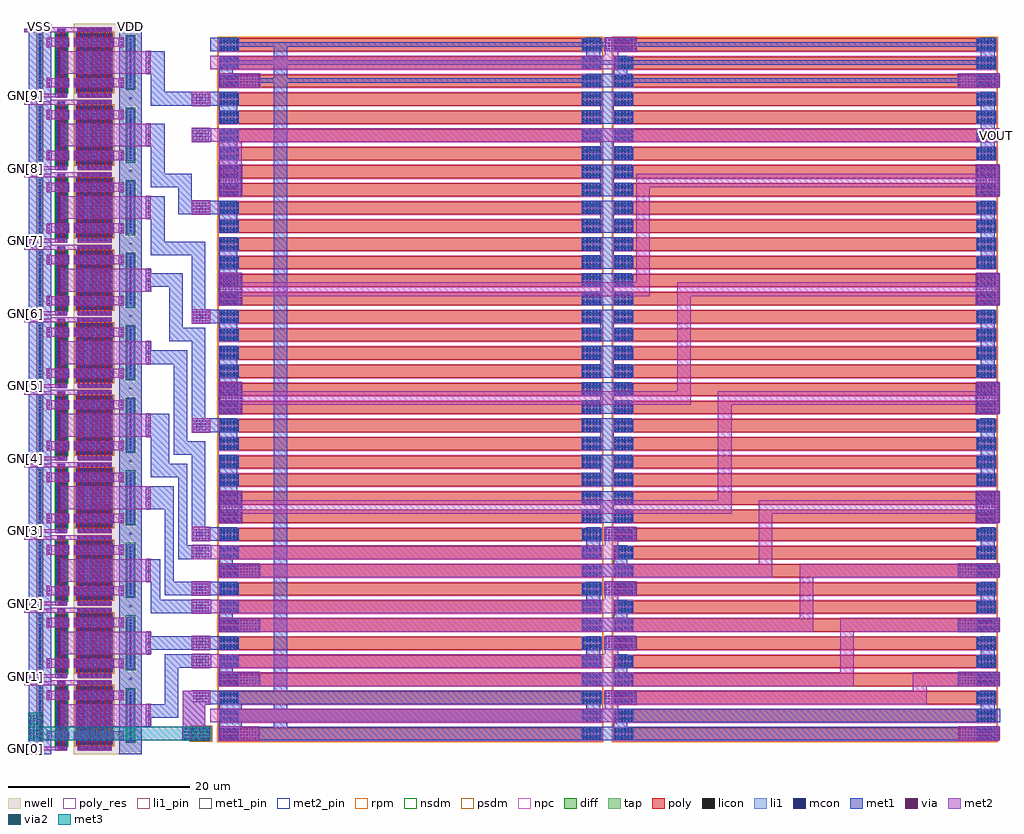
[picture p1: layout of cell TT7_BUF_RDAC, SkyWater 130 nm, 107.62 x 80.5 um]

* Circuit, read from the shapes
.subckt TT7_BUF_RDAC GN[0] GN[1] GN[2] GN[3] GN[4] GN[5] GN[6] GN[7] GN[8] GN[9] GP[0] GP[1] GP[2] GP[3] GP[4] GP[5] GP[6] GP[7] GP[8] GP[9] VDD VOUT VSS
XM1 TT7_RDAC_R2R_0/D0 GN[0] VSS VSS sky130_fd_pr__nfet_01v8 w=6.5 l=0.15 m=2
XM2 TT7_RDAC_R2R_0/D1 GN[1] VSS VSS sky130_fd_pr__nfet_01v8 w=6.5 l=0.15 m=2
XM3 TT7_RDAC_R2R_0/D2 GN[2] VSS VSS sky130_fd_pr__nfet_01v8 w=6.5 l=0.15 m=2
XM4 TT7_RDAC_R2R_0/D3 GN[3] VSS VSS sky130_fd_pr__nfet_01v8 w=6.5 l=0.15 m=2
XM5 TT7_RDAC_R2R_0/D4 GN[4] VSS VSS sky130_fd_pr__nfet_01v8 w=6.5 l=0.15 m=2
XM6 TT7_RDAC_R2R_0/D5 GN[5] VSS VSS sky130_fd_pr__nfet_01v8 w=6.5 l=0.15 m=2
XM7 TT7_RDAC_R2R_0/D6 GN[6] VSS VSS sky130_fd_pr__nfet_01v8 w=6.5 l=0.15 m=2
XM8 TT7_RDAC_R2R_0/D7 GN[7] VSS VSS sky130_fd_pr__nfet_01v8 w=6.5 l=0.15 m=2
XM9 TT7_RDAC_R2R_0/D8 GN[8] VSS VSS sky130_fd_pr__nfet_01v8 w=6.5 l=0.15 m=2
XM10 TT7_RDAC_R2R_0/D9 GN[9] VSS VSS sky130_fd_pr__nfet_01v8 w=6.5 l=0.15 m=2
XM11 TT7_RDAC_R2R_0/D0 GP[0] VDD VDD sky130_fd_pr__pfet_01v8 w=6.5 l=0.15 m=8
XM12 TT7_RDAC_R2R_0/D1 GP[1] VDD VDD sky130_fd_pr__pfet_01v8 w=6.5 l=0.15 m=8
XM13 TT7_RDAC_R2R_0/D2 GP[2] VDD VDD sky130_fd_pr__pfet_01v8 w=6.5 l=0.15 m=8
XM14 TT7_RDAC_R2R_0/D3 GP[3] VDD VDD sky130_fd_pr__pfet_01v8 w=6.5 l=0.15 m=8
XM15 TT7_RDAC_R2R_0/D4 GP[4] VDD VDD sky130_fd_pr__pfet_01v8 w=6.5 l=0.15 m=8
XM16 TT7_RDAC_R2R_0/D5 GP[5] VDD VDD sky130_fd_pr__pfet_01v8 w=6.5 l=0.15 m=8
XM17 TT7_RDAC_R2R_0/D6 GP[6] VDD VDD sky130_fd_pr__pfet_01v8 w=6.5 l=0.15 m=8
XM18 TT7_RDAC_R2R_0/D7 GP[7] VDD VDD sky130_fd_pr__pfet_01v8 w=6.5 l=0.15 m=8
XM19 TT7_RDAC_R2R_0/D8 GP[8] VDD VDD sky130_fd_pr__pfet_01v8 w=6.5 l=0.15 m=8
XM20 TT7_RDAC_R2R_0/D9 GP[9] VDD VDD sky130_fd_pr__pfet_01v8 w=6.5 l=0.15 m=8
XR21 VSS VSS VSS sky130_fd_pr__res_high_po w=1.41 l=37.88 m=11
XR22 n1 n2 VSS sky130_fd_pr__res_high_po w=1.41 l=37.88
XR23 n3 n2 VSS sky130_fd_pr__res_high_po w=1.41 l=37.88
XR24 n3 TT7_RDAC_R2R_0/D1 VSS sky130_fd_pr__res_high_po w=1.41 l=37.88
XR25 n4 n5 VSS sky130_fd_pr__res_high_po w=1.41 l=37.88
XR26 n6 n5 VSS sky130_fd_pr__res_high_po w=1.41 l=37.88
XR27 n6 TT7_RDAC_R2R_0/D3 VSS sky130_fd_pr__res_high_po w=1.41 l=37.88
XR28 n7 n8 VSS sky130_fd_pr__res_high_po w=1.41 l=37.88
XR29 n9 n8 VSS sky130_fd_pr__res_high_po w=1.41 l=37.88
XR30 n9 TT7_RDAC_R2R_0/D5 VSS sky130_fd_pr__res_high_po w=1.41 l=37.88
XR31 n10 n11 VSS sky130_fd_pr__res_high_po w=1.41 l=37.88 m=2
XR32 n12 n11 VSS sky130_fd_pr__res_high_po w=1.41 l=37.88 m=2
XR33 n13 TT7_RDAC_R2R_0/D6 VSS sky130_fd_pr__res_high_po w=1.41 l=37.88 m=2
XR34 n14 n15 VSS sky130_fd_pr__res_high_po w=1.41 l=37.88 m=2
XR35 n16 n15 VSS sky130_fd_pr__res_high_po w=1.41 l=37.88 m=2
XR36 n17 TT7_RDAC_R2R_0/D7 VSS sky130_fd_pr__res_high_po w=1.41 l=37.88 m=2
XR37 n18 n19 VSS sky130_fd_pr__res_high_po w=1.41 l=37.88 m=2
XR38 n20 n19 VSS sky130_fd_pr__res_high_po w=1.41 l=37.88 m=2
XR39 n21 TT7_RDAC_R2R_0/D8 VSS sky130_fd_pr__res_high_po w=1.41 l=37.88 m=2
XR40 n22 VOUT VSS sky130_fd_pr__res_high_po w=1.41 l=37.88 m=2
XR41 n23 VOUT VSS sky130_fd_pr__res_high_po w=1.41 l=37.88 m=2
XR42 n24 TT7_RDAC_R2R_0/D9 VSS sky130_fd_pr__res_high_po w=1.41 l=37.88 m=2
XR43 VSS n25 VSS sky130_fd_pr__res_high_po w=1.41 l=37.88
XR44 n25 n1 VSS sky130_fd_pr__res_high_po w=1.41 l=37.88
XR45 n26 n1 VSS sky130_fd_pr__res_high_po w=1.41 l=37.88
XR46 n26 TT7_RDAC_R2R_0/D0 VSS sky130_fd_pr__res_high_po w=1.41 l=37.88
XR47 n2 n4 VSS sky130_fd_pr__res_high_po w=1.41 l=37.88
XR48 n27 n4 VSS sky130_fd_pr__res_high_po w=1.41 l=37.88
XR49 n27 TT7_RDAC_R2R_0/D2 VSS sky130_fd_pr__res_high_po w=1.41 l=37.88
XR50 n5 n7 VSS sky130_fd_pr__res_high_po w=1.41 l=37.88
XR51 n28 n7 VSS sky130_fd_pr__res_high_po w=1.41 l=37.88
XR52 n28 TT7_RDAC_R2R_0/D4 VSS sky130_fd_pr__res_high_po w=1.41 l=37.88
XR53 n8 n10 VSS sky130_fd_pr__res_high_po w=1.41 l=37.88 m=2
XR54 n29 n12 VSS sky130_fd_pr__res_high_po w=1.41 l=37.88 m=2
XR55 n29 n13 VSS sky130_fd_pr__res_high_po w=1.41 l=37.88 m=2
XR56 n11 n14 VSS sky130_fd_pr__res_high_po w=1.41 l=37.88 m=2
XR57 n30 n16 VSS sky130_fd_pr__res_high_po w=1.41 l=37.88 m=2
XR58 n30 n17 VSS sky130_fd_pr__res_high_po w=1.41 l=37.88 m=2
XR59 n15 n18 VSS sky130_fd_pr__res_high_po w=1.41 l=37.88 m=2
XR60 n31 n20 VSS sky130_fd_pr__res_high_po w=1.41 l=37.88 m=2
XR61 n31 n21 VSS sky130_fd_pr__res_high_po w=1.41 l=37.88 m=2
XR62 n19 n22 VSS sky130_fd_pr__res_high_po w=1.41 l=37.88 m=2
XR63 n32 n23 VSS sky130_fd_pr__res_high_po w=1.41 l=37.88 m=2
XR64 n32 n24 VSS sky130_fd_pr__res_high_po w=1.41 l=37.88 m=2
.ends

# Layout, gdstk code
from math import pi, radians
import gdstk
lib = gdstk.Library(unit=1e-6, precision=1e-09)
def R(c, l, rs):  # rectangles x0, y0, x1, y1
    for r in rs: c.add(gdstk.rectangle(r[:2], r[2:], *l))
def A(c, l, x, y, w, h, nx, ny, dx, dy):  # array of equal rectangles
    R(c, l, [(x+i*dx, y+j*dy, x+i*dx+w, y+j*dy+h) for i in range(nx) for j in range(ny)])
nwell = (64, 20)
diff = (65, 20)
tap = (65, 44)
poly_res = (66, 13)
poly = (66, 20)
licon = (66, 44)
li1_pin = (67, 16)
li1 = (67, 20)
mcon = (67, 44)
met1_pin = (68, 16)
met1 = (68, 20)
via = (68, 44)
met2_pin = (69, 16)
met2 = (69, 20)
via2 = (69, 44)
met3 = (70, 20)
rpm = (86, 20)
nsdm = (93, 44)
psdm = (94, 20)
npc = (95, 20)

sky130_fd_pr__res_high_p = lib.new_cell('sky130_fd_pr__res_high_po_1p41_GFLK2N')
R(sky130_fd_pr__res_high_p, poly_res, [(-0.705,-19,0.705,19)])
R(sky130_fd_pr__res_high_p, poly, [(-0.705,-21.08,0.705,21.08)])
R(sky130_fd_pr__res_high_p, licon, [(-0.45,-21,-0.26,-19), (0.26,-21,0.45,-19), (-0.45,19,-0.26,21), (0.26,19,0.45,21)])
R(sky130_fd_pr__res_high_p, li1, [(-0.705,-21.08,0.705,-18.92), (-0.705,18.92,0.705,21.08)])
A(sky130_fd_pr__res_high_p, mcon, -0.625, -20.985, 0.17, 0.17, 4, 6, 0.36, 0.36)
A(sky130_fd_pr__res_high_p, mcon, -0.625, 19.01, 0.17, 0.17, 4, 6, 0.36, 0.36)
R(sky130_fd_pr__res_high_p, met1, [(-0.655,-21.05,0.655,-18.945), (-0.655,18.945,0.655,21.05)])
R(sky130_fd_pr__res_high_p, rpm, [(-0.905,-21.28,0.905,21.28)])
R(sky130_fd_pr__res_high_p, psdm, [(-0.815,-21.19,0.815,21.19)])
R(sky130_fd_pr__res_high_p, npc, [(-0.8,-21.175,0.8,21.175)])

tt7_rdac_double_bit = lib.new_cell('TT7_RDAC_double_bit')
R(tt7_rdac_double_bit, met1, [(-0.05,0,4.55,1.5), (40.5,0,45.5,1.5), (81.45,0,86.05,1.5), (0,1.5,1.5,3.5), (43.5,1.5,45,3.5), (40.5,2,42,5.5), (84,2,85.5,5.5), (-1,4,2,5.5), (42.45,4,46.05,5.5)])
A(tt7_rdac_double_bit, via, 0.095, 0.195, 0.15, 0.15, 14, 4, 0.32, 0.32)
A(tt7_rdac_double_bit, via, 81.595, 0.195, 0.15, 0.15, 14, 4, 0.32, 0.32)
A(tt7_rdac_double_bit, via, 42.575, 4.195, 0.15, 0.15, 11, 4, 0.32, 0.32)
R(tt7_rdac_double_bit, met2, [(0,-0.05,4.5,1.55), (81.5,-0.05,86,1.55), (-1,2,44,3.5), (42.5,3.5,44,3.95), (42.5,3.95,46,5.55)])
R(tt7_rdac_double_bit, rpm, [(-0.2,1.61,42.36,1.8), (43.3,1.61,85.86,1.8), (-0.2,3.61,42.36,3.8), (43.3,3.61,85.86,3.8)])
R(tt7_rdac_double_bit, psdm, [(-0.11,1.52,42.27,1.89), (43.39,1.52,85.77,1.89), (-0.11,3.52,42.27,3.89), (43.39,3.52,85.77,3.89)])
r = gdstk.Reference(sky130_fd_pr__res_high_p, (21.08,4.705), rotation=3*pi/2); r.repetition = gdstk.Repetition(3, 2, v1=(0,-2), v2=(43.5,0)); tt7_rdac_double_bit.add(r)

tt7_rdac_2x2_bit = lib.new_cell('TT7_RDAC_2x2_bit')
A(tt7_rdac_2x2_bit, met1, 40, 0, 5.5, 1.5, 1, 6, 0, 2)
A(tt7_rdac_2x2_bit, met1, 42, 1.5, 1.5, 0.5, 1, 3, 0, 4)
R(tt7_rdac_2x2_bit, met1, [(-0.05,0,2.55,3.5), (83.45,0,86.05,3.5), (0,3.5,2,7.5), (84,4,85.5,11.5), (0,8,2,10), (-1,10,2,11.5)])
A(tt7_rdac_2x2_bit, via, 0.055, 0.075, 0.15, 0.15, 8, 11, 0.32, 0.32)
A(tt7_rdac_2x2_bit, via, 83.555, 0.075, 0.15, 0.15, 8, 11, 0.32, 0.32)
R(tt7_rdac_2x2_bit, met2, [(0,-0.05,2.5,3.55), (83.5,-0.05,86,3.55)])
A(tt7_rdac_2x2_bit, rpm, -0.2, 1.61, 42.56, 0.19, 1, 5, 0, 2)
A(tt7_rdac_2x2_bit, rpm, 43.3, 1.61, 42.56, 0.19, 1, 5, 0, 2)
A(tt7_rdac_2x2_bit, psdm, -0.11, 1.52, 42.38, 0.37, 1, 5, 0, 2)
A(tt7_rdac_2x2_bit, psdm, 43.39, 1.52, 42.38, 0.37, 1, 5, 0, 2)
r = gdstk.Reference(sky130_fd_pr__res_high_p, (21.08,10.705), rotation=3*pi/2); r.repetition = gdstk.Repetition(6, 2, v1=(0,-2), v2=(43.5,0)); tt7_rdac_2x2_bit.add(r)

tt7_rdac_r2r = lib.new_cell('TT7_RDAC_R2R')
R(tt7_rdac_r2r, tap, [(-12.62,22.5,-10.38,24)])
A(tt7_rdac_r2r, licon, -12.435, 22.655, 0.17, 0.17, 6, 4, 0.34, 0.34)
R(tt7_rdac_r2r, li1_pin, [(-12,23,-11.5,23.5)])
R(tt7_rdac_r2r, li1, [(-12.58,22.5,-10.42,24)])
R(tt7_rdac_r2r, met1, [(-9.5,22.5,76.5,24), (-9.5,24,-7,24.5), (-3.5,24,-2,24.5), (-9.5,24.5,76.6,26), (-9.5,26,-7,26.5), (-3.5,26,-2,26.5), (-12.55,26.5,-10,28), (-9.5,26.5,32.5,28), (-3.5,28,-2,95), (-12.55,30.5,-10.4,32), (-12.55,32.5,-10.4,34), (-12.55,36.5,-10.4,38), (-12.55,38.5,-10.5,40), (-12.55,42.5,-10.4,44), (-12.55,44.5,-10.5,46), (-12.55,56.5,-10,58), (-12.55,68.5,-10,70), (-12.55,80.5,-10.45,82), (-12.55,88.5,-10.4,90), (-12.55,92.5,-10.5,93), (-12.55,93,-10.45,94), (-8.5,95,76.55,95.5), (-3.5,95.5,-2,97), (-8.5,97,76.15,97.5), (-3.5,97.5,-2,99), (-9,99,75.5,99.5)])
A(tt7_rdac_r2r, via, -12.375, 26.695, 0.15, 0.15, 6, 4, 0.32, 0.32)
A(tt7_rdac_r2r, via, -12.375, 30.695, 0.15, 0.15, 6, 4, 0.32, 0.32)
A(tt7_rdac_r2r, via, -12.375, 32.695, 0.15, 0.15, 6, 4, 0.32, 0.32)
A(tt7_rdac_r2r, via, -12.375, 36.695, 0.15, 0.15, 6, 4, 0.32, 0.32)
A(tt7_rdac_r2r, via, -12.375, 38.695, 0.15, 0.15, 6, 4, 0.32, 0.32)
A(tt7_rdac_r2r, via, -12.375, 42.695, 0.15, 0.15, 6, 4, 0.32, 0.32)
A(tt7_rdac_r2r, via, -12.375, 44.695, 0.15, 0.15, 6, 4, 0.32, 0.32)
A(tt7_rdac_r2r, via, -12.375, 56.695, 0.15, 0.15, 6, 4, 0.32, 0.32)
A(tt7_rdac_r2r, via, -12.375, 68.695, 0.15, 0.15, 6, 4, 0.32, 0.32)
A(tt7_rdac_r2r, via, -12.375, 80.695, 0.15, 0.15, 6, 4, 0.32, 0.32)
A(tt7_rdac_r2r, via, -12.375, 88.695, 0.15, 0.15, 6, 4, 0.32, 0.32)
A(tt7_rdac_r2r, via, -12.375, 92.695, 0.15, 0.15, 6, 4, 0.32, 0.32)
A(tt7_rdac_r2r, met2_pin, -12, 45, 0.5, 0.5, 1, 4, 0, 12)
R(tt7_rdac_r2r, met2_pin, [(-12,27,-11.5,27.5), (-12,31,-11.5,31.5), (-12,33,-11.5,33.5), (-12,37,-11.5,37.5), (-12,39,-11.5,39.5), (-12,43,-11.5,43.5), (-12,89,-11.5,89.5), (-12,93,-11.5,93.5)])
A(tt7_rdac_r2r, met2, -12.5, 44.45, 2, 1.6, 1, 5, 0, 12)
R(tt7_rdac_r2r, met2, [(-12.5,26.45,-10.5,28.05), (36.5,26.5,68.5,28), (67,28,68.5,28.5), (-9.5,28.5,60.5,30), (67,28.5,76.5,30), (59,30,60.5,34.5), (-12.5,30.45,-10.5,32.05), (-12.5,32.45,-10.5,34.05), (-9.5,34.5,56,36), (59,34.5,76.5,36), (54.5,36,56,40.5), (-12.5,36.45,-10.5,38.05), (-12.5,38.45,-10.5,40.05), (-9.5,40.5,51.5,42), (54.5,40.5,76.5,42), (50,42,51.5,47.5), (-12.5,42.45,-10.5,44.05), (-9,47.5,47,49), (50,47.5,76.5,49), (45.5,49,47,59.5), (-9,59.5,42.5,61), (45.5,59.5,76.5,61), (41,61,42.5,71.5), (-9,71.5,38,73), (41,71.5,76.5,73), (36.5,73,38,83.5), (36.5,83.5,76.5,85), (-9.5,86,-7,88.5), (-12.5,88.45,-10.5,88.5), (-12.5,88.5,76.5,90), (-12.5,90,-10.5,90.05)])
A(tt7_rdac_r2r, rpm, -9.7, 28.11, 42.56, 0.19, 1, 4, 0, 6)
A(tt7_rdac_r2r, rpm, 33.8, 28.11, 42.56, 0.19, 1, 4, 0, 6)
A(tt7_rdac_r2r, rpm, -9.7, 58.11, 42.56, 0.19, 1, 4, 0, 12)
A(tt7_rdac_r2r, rpm, 33.8, 58.11, 42.56, 0.19, 1, 4, 0, 12)
A(tt7_rdac_r2r, psdm, -9.61, 28.02, 42.38, 0.37, 1, 4, 0, 6)
A(tt7_rdac_r2r, psdm, 33.89, 28.02, 42.38, 0.37, 1, 4, 0, 6)
A(tt7_rdac_r2r, psdm, -9.61, 58.02, 42.38, 0.37, 1, 4, 0, 12)
A(tt7_rdac_r2r, psdm, 33.89, 58.02, 42.38, 0.37, 1, 4, 0, 12)
R(tt7_rdac_r2r, psdm, [(-12.745,22.375,-10.255,24.125)])
tt7_rdac_r2r.add(gdstk.Reference(tt7_rdac_double_bit, (-9.5,94.5)))
r = gdstk.Reference(tt7_rdac_double_bit, (-9.5,22.5)); r.repetition = gdstk.Repetition(1, 4, v1=(0,0), v2=(0,6)); tt7_rdac_r2r.add(r)
r = gdstk.Reference(tt7_rdac_2x2_bit, (-9.5,46.5)); r.repetition = gdstk.Repetition(1, 4, v1=(0,0), v2=(0,12)); tt7_rdac_r2r.add(r)
tt7_rdac_r2r.add(gdstk.Label('D9', (-11.75,93.25), layer=69, texttype=5))
tt7_rdac_r2r.add(gdstk.Label('D8', (-11.75,81.25), layer=69, texttype=5))
tt7_rdac_r2r.add(gdstk.Label('D7', (-11.75,69.25), layer=69, texttype=5))
tt7_rdac_r2r.add(gdstk.Label('D6', (-11.75,57.25), layer=69, texttype=5))
tt7_rdac_r2r.add(gdstk.Label('D5', (-11.75,45.25), layer=69, texttype=5))
tt7_rdac_r2r.add(gdstk.Label('D4', (-11.75,43.25), layer=69, texttype=5))
tt7_rdac_r2r.add(gdstk.Label('D3', (-11.75,39.25), layer=69, texttype=5))
tt7_rdac_r2r.add(gdstk.Label('D2', (-11.75,37.25), layer=69, texttype=5))
tt7_rdac_r2r.add(gdstk.Label('D1', (-11.75,33.25), layer=69, texttype=5))
tt7_rdac_r2r.add(gdstk.Label('D0', (-11.75,31.25), layer=69, texttype=5))
tt7_rdac_r2r.add(gdstk.Label('VSS', (-11.75,27.25), layer=69, texttype=5))
tt7_rdac_r2r.add(gdstk.Label('vout', (-11.75,89.25), layer=69, texttype=5))
tt7_rdac_r2r.add(gdstk.Label('RGND', (-11.75,23.25), layer=67, texttype=5))

sky130_fd_pr__pfet_01v8_ = lib.new_cell('sky130_fd_pr__pfet_01v8_VHHV29')
R(sky130_fd_pr__pfet_01v8_, nwell, [(-2.245,-3.75,1.765,-3.56), (-2.245,-3.56,2.245,3.56), (-1.765,3.56,2.245,3.75)])
R(sky130_fd_pr__pfet_01v8_, diff, [(-2.065,-3.25,2.065,3.25)])
A(sky130_fd_pr__pfet_01v8_, poly, -1.845, -3.735, 0.33, 0.33, 4, 1, 0.96, 0)
A(sky130_fd_pr__pfet_01v8_, poly, -1.755, -3.405, 0.15, 6.785, 4, 1, 0.96, 0)
A(sky130_fd_pr__pfet_01v8_, poly, -1.275, -3.38, 0.15, 6.785, 4, 1, 0.96, 0)
A(sky130_fd_pr__pfet_01v8_, poly, -1.365, 3.405, 0.33, 0.33, 4, 1, 0.96, 0)
A(sky130_fd_pr__pfet_01v8_, licon, -1.765, -3.655, 0.17, 0.17, 4, 1, 0.96, 0)
A(sky130_fd_pr__pfet_01v8_, licon, -2.005, -3.145, 0.17, 0.17, 9, 19, 0.48, 0.34)
A(sky130_fd_pr__pfet_01v8_, licon, -1.285, 3.485, 0.17, 0.17, 4, 1, 0.96, 0)
A(sky130_fd_pr__pfet_01v8_, li1, -1.845, -3.655, 0.33, 0.17, 4, 1, 0.96, 0)
A(sky130_fd_pr__pfet_01v8_, li1, -2.005, -3.27, 0.17, 6.54, 9, 1, 0.48, 0)
A(sky130_fd_pr__pfet_01v8_, li1, -1.365, 3.485, 0.33, 0.17, 4, 1, 0.96, 0)
A(sky130_fd_pr__pfet_01v8_, mcon, -1.765, -3.655, 0.17, 0.17, 4, 1, 0.96, 0)
A(sky130_fd_pr__pfet_01v8_, mcon, -2.005, -3.145, 0.17, 0.17, 9, 18, 0.48, 0.36)
A(sky130_fd_pr__pfet_01v8_, mcon, -1.285, 3.485, 0.17, 0.17, 4, 1, 0.96, 0)
A(sky130_fd_pr__pfet_01v8_, met1, -1.825, -3.685, 0.29, 0.23, 4, 1, 0.96, 0)
A(sky130_fd_pr__pfet_01v8_, met1, -2.035, -3.25, 0.23, 6.5, 9, 1, 0.48, 0)
A(sky130_fd_pr__pfet_01v8_, met1, -1.345, 3.455, 0.29, 0.23, 4, 1, 0.96, 0)
R(sky130_fd_pr__pfet_01v8_, psdm, [(-2.19,-3.375,2.19,3.375)])
A(sky130_fd_pr__pfet_01v8_, npc, -1.865, -3.755, 0.37, 0.37, 4, 1, 0.96, 0)
A(sky130_fd_pr__pfet_01v8_, npc, -1.385, 3.385, 0.37, 0.37, 4, 1, 0.96, 0)

sky130_fd_pr__nfet_01v8_ = lib.new_cell('sky130_fd_pr__nfet_01v8_84F3PJ')
R(sky130_fd_pr__nfet_01v8_, diff, [(-0.625,-3.25,0.625,3.25)])
R(sky130_fd_pr__nfet_01v8_, poly, [(-0.405,-3.69,-0.075,-3.36), (0.165,-3.38,0.315,3.36), (-0.315,-3.36,-0.165,3.38), (0.075,3.36,0.405,3.69)])
A(sky130_fd_pr__nfet_01v8_, licon, -0.565, -3.145, 0.17, 0.17, 3, 19, 0.48, 0.34)
R(sky130_fd_pr__nfet_01v8_, licon, [(-0.325,-3.61,-0.155,-3.44), (0.155,3.44,0.325,3.61)])
A(sky130_fd_pr__nfet_01v8_, li1, -0.565, -3.27, 0.17, 6.54, 3, 1, 0.48, 0)
R(sky130_fd_pr__nfet_01v8_, li1, [(-0.405,-3.61,-0.075,-3.44), (0.075,3.44,0.405,3.61)])
A(sky130_fd_pr__nfet_01v8_, mcon, -0.565, -3.145, 0.17, 0.17, 3, 18, 0.48, 0.36)
R(sky130_fd_pr__nfet_01v8_, mcon, [(-0.325,-3.61,-0.155,-3.44), (0.155,3.44,0.325,3.61)])
A(sky130_fd_pr__nfet_01v8_, met1, -0.595, -3.25, 0.23, 6.5, 3, 1, 0.48, 0)
R(sky130_fd_pr__nfet_01v8_, met1, [(-0.385,-3.64,-0.095,-3.41), (0.095,3.41,0.385,3.64)])
R(sky130_fd_pr__nfet_01v8_, nsdm, [(-0.75,-3.375,0.75,3.375)])
R(sky130_fd_pr__nfet_01v8_, npc, [(-0.425,-3.71,-0.055,-3.34), (0.055,3.34,0.425,3.71)])

tt7_drv_dac_one = lib.new_cell('TT7_DRV_DAC_one')
A(tt7_drv_dac_one, nwell, 3.1, 7.095, 0.01, 0.05, 8, 1, 0.05, 0)
R(tt7_drv_dac_one, nwell, [(2,-0.5,9.495,0), (2,0,9.5,0.3), (2,0.3,6.125,0.4), (6.15,0.3,9.5,0.4), (2,0.4,9.5,7.095), (2,7.095,3.06,7.145), (3.5,7.095,9.5,7.145), (2,7.145,9.5,7.15), (2,7.15,2.35,7.3), (2.37,7.15,5.77,7.3), (6.1,7.15,9.5,7.3), (2,7.3,9.5,8)])
R(tt7_drv_dac_one, tap, [(-2,0.38,-1.5,7.12), (7.85,0.85,8.65,6.65)])
A(tt7_drv_dac_one, poly, 2.97, 0.345, 0.15, 0.055, 4, 1, 0.96, 0)
A(tt7_drv_dac_one, poly, 3.45, 0.37, 0.15, 0.03, 3, 1, 0.96, 0)
A(tt7_drv_dac_one, poly, 2.49, 7.13, 0.15, 0.02, 4, 1, 0.96, 0)
R(tt7_drv_dac_one, poly, [(0.55,0,1.03,0.33), (2.4,0.015,6.09,0.345), (0.2,7.05,1.05,7.4), (2.4,7.15,6.1,7.5)])
A(tt7_drv_dac_one, licon, 2.96, 0.095, 0.17, 0.17, 4, 1, 0.96, 0)
A(tt7_drv_dac_one, licon, -1.835, 0.605, 0.17, 0.17, 1, 19, 0, 0.34)
A(tt7_drv_dac_one, licon, 8.165, 1.115, 0.17, 0.17, 1, 16, 0, 0.34)
A(tt7_drv_dac_one, licon, 2.48, 7.235, 0.17, 0.17, 4, 1, 0.96, 0)
R(tt7_drv_dac_one, licon, [(0.78,0.08,0.95,0.25), (0.28,7.13,0.45,7.3)])
R(tt7_drv_dac_one, li1, [(0.53,0.08,1.03,0.25), (2.4,0.095,6.09,0.265), (-2,0.42,-1.5,7.08), (7.9,0.9,8.6,6.6), (0.2,7.13,0.53,7.3), (2.4,7.235,6.09,7.405)])
A(tt7_drv_dac_one, mcon, 2.96, 0.095, 0.17, 0.17, 4, 1, 0.96, 0)
A(tt7_drv_dac_one, mcon, -1.835, 0.605, 0.17, 0.17, 1, 18, 0, 0.36)
A(tt7_drv_dac_one, mcon, 8.165, 1.145, 0.17, 0.17, 1, 15, 0, 0.36)
A(tt7_drv_dac_one, mcon, 2.48, 7.235, 0.17, 0.17, 4, 1, 0.96, 0)
R(tt7_drv_dac_one, mcon, [(0.78,0.08,0.95,0.25), (0.28,7.13,0.45,7.3)])
R(tt7_drv_dac_one, met1_pin, [(-1.9,7.7,-1.6,7.9), (8.1,7.7,8.4,7.9)])
A(tt7_drv_dac_one, met1, 2.15, 1, 0.4, 1, 4, 2, 0.95, 4.5)
A(tt7_drv_dac_one, met1, 2.6, 2.5, 0.4, 2.5, 3, 1, 0.95, 0)
R(tt7_drv_dac_one, met1, [(-3,-0.5,-0.5,1), (7,-0.5,9.5,1), (-0.05,-0.1,1.25,0.3), (2.45,-0.1,6.15,0.015), (2.4,0.015,6.15,0.3), (2.4,0.3,6.09,0.345), (-3,1,-0.45,2), (-0.05,1,0.35,2), (0.95,1,1.35,2), (6,1,6.4,2), (6.95,1,9.5,2), (-3,2,-0.5,5.5), (7,2,9.5,5.5), (0.45,2.5,0.85,5), (5.5,2.5,5.9,5), (9.95,2.5,10.55,5), (-3,5.5,-0.45,6.5), (-0.05,5.5,0.35,6.5), (0.95,5.5,1.35,6.5), (6,5.5,6.4,6.5), (6.95,5.5,9.5,6.5), (-3,6.5,-0.5,8), (7,6.5,9.5,8), (0.15,7.1,1.05,7.5), (2.35,7.2,6.15,7.6)])
A(tt7_drv_dac_one, via, 0.205, 0.025, 0.15, 0.15, 3, 1, 0.32, 0)
A(tt7_drv_dac_one, via, 2.625, 0.025, 0.15, 0.15, 11, 1, 0.32, 0)
A(tt7_drv_dac_one, via, -0.825, 1.105, 0.15, 0.15, 1, 3, 0, 0.32)
A(tt7_drv_dac_one, via, 0.075, 1.105, 0.15, 0.15, 1, 3, 0, 0.32)
A(tt7_drv_dac_one, via, 1.075, 1.105, 0.15, 0.15, 1, 3, 0, 0.32)
A(tt7_drv_dac_one, via, 2.275, 1.105, 0.15, 0.15, 4, 3, 0.95, 0.32)
A(tt7_drv_dac_one, via, 6.125, 1.105, 0.15, 0.15, 1, 3, 0, 0.32)
A(tt7_drv_dac_one, via, 7.175, 1.105, 0.15, 0.15, 1, 3, 0, 0.32)
A(tt7_drv_dac_one, via, 0.575, 2.555, 0.15, 0.15, 1, 8, 0, 0.32)
A(tt7_drv_dac_one, via, 2.725, 2.555, 0.15, 0.15, 3, 8, 0.95, 0.32)
A(tt7_drv_dac_one, via, 5.625, 2.555, 0.15, 0.15, 1, 8, 0, 0.32)
A(tt7_drv_dac_one, via, 10.175, 2.555, 0.15, 0.15, 1, 8, 0, 0.32)
A(tt7_drv_dac_one, via, -0.825, 5.605, 0.15, 0.15, 1, 3, 0, 0.32)
A(tt7_drv_dac_one, via, 0.075, 5.605, 0.15, 0.15, 1, 3, 0, 0.32)
A(tt7_drv_dac_one, via, 1.075, 5.605, 0.15, 0.15, 1, 3, 0, 0.32)
A(tt7_drv_dac_one, via, 2.275, 5.605, 0.15, 0.15, 4, 3, 0.95, 0.32)
A(tt7_drv_dac_one, via, 6.125, 5.605, 0.15, 0.15, 1, 3, 0, 0.32)
A(tt7_drv_dac_one, via, 7.175, 5.605, 0.15, 0.15, 1, 3, 0, 0.32)
A(tt7_drv_dac_one, via, 2.575, 7.325, 0.15, 0.15, 11, 1, 0.32, 0)
R(tt7_drv_dac_one, met2_pin, [(-3.4,0,-3.2,0.2), (10.1,3.6,10.4,3.8), (-3.4,7.2,-3.2,7.4)])
A(tt7_drv_dac_one, met2, 2.2, 0.95, 0.3, 0.05, 4, 2, 0.95, 1.05)
A(tt7_drv_dac_one, met2, 2.65, 2.45, 0.3, 0.05, 3, 2, 0.95, 2.55)
A(tt7_drv_dac_one, met2, 2.2, 5.45, 0.3, 0.05, 4, 2, 0.95, 1.05)
R(tt7_drv_dac_one, met2, [(0,-0.15,1.2,-0.1), (2.5,-0.15,6.1,0.35), (-3.5,-0.1,1.2,0.3), (0,0.3,1.2,0.35), (-1,0.95,-0.5,1), (0,0.95,0.3,1), (1,0.95,1.3,1), (6.05,0.95,6.35,1), (7,0.95,7.5,1), (-1,1,1.5,2), (2,1,7.5,2), (-1,2,-0.5,2.05), (0,2,0.3,2.05), (1,2,1.3,2.05), (6.05,2,6.35,2.05), (7,2,7.5,2.05), (0.5,2.45,0.8,2.5), (5.55,2.45,5.85,2.5), (10,2.45,10.5,2.5), (0.5,2.5,10.5,5), (0.5,5,0.8,5.05), (5.55,5,5.85,5.05), (10,5,10.5,5.05), (-1,5.45,-0.5,5.5), (0,5.45,0.3,5.5), (1,5.45,1.3,5.5), (6.05,5.45,6.35,5.5), (7,5.45,7.5,5.5), (-1,5.5,1.5,6.5), (2,5.5,7.5,6.5), (-1,6.5,-0.5,6.55), (0,6.5,0.3,6.55), (1,6.5,1.3,6.55), (6.05,6.5,6.35,6.55), (7,6.5,7.5,6.55), (-3.5,7.1,2.4,7.15), (-3.5,7.15,6.1,7.5), (-0.5,7.5,6.1,7.65)])
R(tt7_drv_dac_one, nsdm, [(7.725,0.725,8.775,6.775)])
R(tt7_drv_dac_one, psdm, [(-2.125,0.255,-1.375,7.245)])
A(tt7_drv_dac_one, npc, 2.75, -0.005, 0.59, 0.37, 3, 1, 0.96, 0)
A(tt7_drv_dac_one, npc, 3.23, 7.135, 0.59, 0.37, 3, 1, 0.96, 0)
R(tt7_drv_dac_one, npc, [(0.57,-0.02,1.05,0.35), (5.63,-0.005,6.11,0.365), (0.18,7.03,0.68,7.4), (2.38,7.135,2.86,7.505)])
tt7_drv_dac_one.add(gdstk.Reference(sky130_fd_pr__pfet_01v8_, (4.245,3.75)))
tt7_drv_dac_one.add(gdstk.Reference(sky130_fd_pr__nfet_01v8_, (0.625,3.69)))
tt7_drv_dac_one.add(gdstk.Label('VSS', (-1.75,7.8), layer=68, texttype=5))
tt7_drv_dac_one.add(gdstk.Label('VDD', (8.25,7.8), layer=68, texttype=5))
tt7_drv_dac_one.add(gdstk.Label('GN', (-3.3,0.1), layer=69, texttype=5))
tt7_drv_dac_one.add(gdstk.Label('GP', (-3.3,7.3), layer=69, texttype=5))
tt7_drv_dac_one.add(gdstk.Label('R', (10.25,3.7), layer=69, texttype=5))

tt7_drv_dac = lib.new_cell('TT7_DRV_DAC')
A(tt7_drv_dac, met1_pin, 13.6, 4.1, 0.3, 0.2, 1, 10, 0, 8)
R(tt7_drv_dac, met1_pin, [(1.6,80.2,1.9,80.4), (11.6,80.2,11.9,80.4)])
A(tt7_drv_dac, met1, 13.6, 4.1, 0.3, 0.2, 1, 10, 0, 8)
R(tt7_drv_dac, met1, [(1.6,80.2,1.9,80.4), (11.6,80.2,11.9,80.4)])
R(tt7_drv_dac, met2_pin, [(0.1,0.5,0.3,0.7), (0.1,7.7,0.3,7.9), (0.1,8.5,0.3,8.7), (0.1,15.7,0.3,15.9), (0.1,16.5,0.3,16.7), (0.1,23.7,0.3,23.9), (0.1,24.5,0.3,24.7), (0.1,31.7,0.3,31.9), (0.1,32.5,0.3,32.7), (0.1,39.7,0.3,39.9), (0.1,40.5,0.3,40.7), (0.1,47.7,0.3,47.9), (0.1,48.5,0.3,48.7), (0.1,55.7,0.3,55.9), (0.1,56.5,0.3,56.7), (0.1,63.7,0.3,63.9), (0.1,64.5,0.3,64.7), (0.1,71.7,0.3,71.9), (0.1,72.5,0.3,72.7), (0.1,79.7,0.3,79.9)])
R(tt7_drv_dac, met2, [(0.1,0.5,0.3,0.7), (0.1,7.7,0.3,7.9), (0.1,8.5,0.3,8.7), (0.1,15.7,0.3,15.9), (0.1,16.5,0.3,16.7), (0.1,23.7,0.3,23.9), (0.1,24.5,0.3,24.7), (0.1,31.7,0.3,31.9), (0.1,32.5,0.3,32.7), (0.1,39.7,0.3,39.9), (0.1,40.5,0.3,40.7), (0.1,47.7,0.3,47.9), (0.1,48.5,0.3,48.7), (0.1,55.7,0.3,55.9), (0.1,56.5,0.3,56.7), (0.1,63.7,0.3,63.9), (0.1,64.5,0.3,64.7), (0.1,71.7,0.3,71.9), (0.1,72.5,0.3,72.7), (0.1,79.7,0.3,79.9)])
r = gdstk.Reference(tt7_drv_dac_one, (3.5,0.5)); r.repetition = gdstk.Repetition(1, 10, v1=(0,0), v2=(0,8)); tt7_drv_dac.add(r)
tt7_drv_dac.add(gdstk.Label('VDD', (11.75,80.3), layer=68, texttype=5))
tt7_drv_dac.add(gdstk.Label('VSS', (1.75,80.3), layer=68, texttype=5))
tt7_drv_dac.add(gdstk.Label('R[0]', (13.75,4.2), layer=68, texttype=5))
tt7_drv_dac.add(gdstk.Label('R[1]', (13.75,12.2), layer=68, texttype=5))
tt7_drv_dac.add(gdstk.Label('R[2]', (13.75,20.2), layer=68, texttype=5))
tt7_drv_dac.add(gdstk.Label('R[3]', (13.75,28.2), layer=68, texttype=5))
tt7_drv_dac.add(gdstk.Label('R[4]', (13.75,36.2), layer=68, texttype=5))
tt7_drv_dac.add(gdstk.Label('R[5]', (13.75,44.2), layer=68, texttype=5))
tt7_drv_dac.add(gdstk.Label('R[6]', (13.75,52.2), layer=68, texttype=5))
tt7_drv_dac.add(gdstk.Label('R[7]', (13.75,60.2), layer=68, texttype=5))
tt7_drv_dac.add(gdstk.Label('R[8]', (13.75,68.2), layer=68, texttype=5))
tt7_drv_dac.add(gdstk.Label('R[9]', (13.75,76.2), layer=68, texttype=5))
tt7_drv_dac.add(gdstk.Label('GP[0]', (0.2,7.8), layer=69, texttype=5))
tt7_drv_dac.add(gdstk.Label('GN[0]', (0.2,0.6), layer=69, texttype=5))
tt7_drv_dac.add(gdstk.Label('GP[1]', (0.2,15.8), layer=69, texttype=5))
tt7_drv_dac.add(gdstk.Label('GN[1]', (0.2,8.6), layer=69, texttype=5))
tt7_drv_dac.add(gdstk.Label('GP[2]', (0.2,23.8), layer=69, texttype=5))
tt7_drv_dac.add(gdstk.Label('GN[2]', (0.2,16.6), layer=69, texttype=5))
tt7_drv_dac.add(gdstk.Label('GP[3]', (0.2,31.8), layer=69, texttype=5))
tt7_drv_dac.add(gdstk.Label('GN[3]', (0.2,24.6), layer=69, texttype=5))
tt7_drv_dac.add(gdstk.Label('GP[4]', (0.2,39.8), layer=69, texttype=5))
tt7_drv_dac.add(gdstk.Label('GN[4]', (0.2,32.6), layer=69, texttype=5))
tt7_drv_dac.add(gdstk.Label('GP[5]', (0.2,47.8), layer=69, texttype=5))
tt7_drv_dac.add(gdstk.Label('GN[5]', (0.2,40.6), layer=69, texttype=5))
tt7_drv_dac.add(gdstk.Label('GP[6]', (0.2,55.8), layer=69, texttype=5))
tt7_drv_dac.add(gdstk.Label('GN[6]', (0.2,48.6), layer=69, texttype=5))
tt7_drv_dac.add(gdstk.Label('GP[7]', (0.2,63.8), layer=69, texttype=5))
tt7_drv_dac.add(gdstk.Label('GN[7]', (0.2,56.6), layer=69, texttype=5))
tt7_drv_dac.add(gdstk.Label('GP[8]', (0.2,71.8), layer=69, texttype=5))
tt7_drv_dac.add(gdstk.Label('GN[8]', (0.2,64.6), layer=69, texttype=5))
tt7_drv_dac.add(gdstk.Label('GP[9]', (0.2,79.8), layer=69, texttype=5))
tt7_drv_dac.add(gdstk.Label('GN[9]', (0.2,72.6), layer=69, texttype=5))

tt7_buf_rdac = lib.new_cell('TT7_BUF_RDAC')
R(tt7_buf_rdac, met1_pin, [(1.5,80,2,80.5), (11.5,80,12,80.5)])
R(tt7_buf_rdac, met1, [(0.45,1.5,2.05,4.5), (17.45,1.5,20.55,3), (17.5,3,20,7), (14,4,17,5.5), (15.5,5.5,17,9.5), (15.5,9.5,18.5,11), (14,11.5,18.5,13), (14,15.5,18.5,17), (14,17,15,21.5), (15.5,17.5,18.5,19), (15.5,19,16.5,27), (17,21.5,18.5,23), (17,23,18,30.5), (18.5,25,20,33), (14,27,16.5,29.5), (14,30.5,18,32), (14,32,16,37.5), (16.5,33,20,34.5), (16.5,34.5,18,43), (18.5,35.5,20,45.5), (14,43,18,44.5), (16,45.5,20,47), (16,47,17.5,51.5), (18.5,49,20,55), (14,51.5,17.5,53), (14,55,20,56.5), (14,56.5,15.5,61.5), (17,59.5,18.5,62.5), (14,62.5,18.5,64), (14,64,15.5,69.5), (14,71.5,18.5,73), (14,73,15.5,77.5), (1.5,80,2,80.5), (11.5,80,12,80.5)])
A(tt7_buf_rdac, via, 0.695, 1.645, 0.15, 0.15, 4, 9, 0.32, 0.32)
A(tt7_buf_rdac, via, 17.645, 1.695, 0.15, 0.15, 9, 4, 0.32, 0.32)
R(tt7_buf_rdac, met2_pin, [(0.1,0.5,0.3,0.7), (0.1,7.7,0.3,7.9), (0.1,8.5,0.3,8.7), (0.1,15.7,0.3,15.9), (0.1,16.5,0.3,16.7), (0.1,23.7,0.3,23.9), (0.1,24.5,0.3,24.7), (0.1,31.7,0.3,31.9), (0.1,32.5,0.3,32.7), (0.1,39.7,0.3,39.9), (0.1,40.5,0.3,40.7), (0.1,47.7,0.3,47.9), (0.1,48.5,0.3,48.7), (0.1,55.7,0.3,55.9), (0.1,56.5,0.3,56.7), (0.1,63.7,0.3,63.9), (0.1,64.5,0.3,64.7), (107,68,107.5,68.5), (0.1,71.7,0.3,71.9), (0.1,72.5,0.3,72.7), (0.1,79.7,0.3,79.9)])
R(tt7_buf_rdac, met2, [(0,0.4,0.4,0.8), (0.5,1.45,2,4.55), (17.5,1.45,20.5,3.05), (17.5,3.05,20,7), (0,7.6,0.4,8), (0,8.4,0.4,8.8), (0,15.6,0.4,16), (0,16.4,0.4,16.8), (0,23.6,0.4,24), (0,24.4,0.4,24.8), (0,31.6,0.4,32), (0,32.4,0.4,32.8), (0,39.6,0.4,40), (0,40.4,0.4,40.8), (0,47.6,0.4,48), (0,48.4,0.4,48.8), (0,55.6,0.4,56), (0,56.4,0.4,56.8), (0,63.6,0.4,64), (0,64.4,0.4,64.8), (107,68,107.5,68.5), (0,71.6,0.4,72), (0,72.4,0.4,72.8), (0,79.6,0.4,80)])
A(tt7_buf_rdac, via2, 17.7, 1.55, 0.2, 0.2, 7, 4, 0.4, 0.4)
A(tt7_buf_rdac, via2, 0.55, 1.7, 0.2, 0.2, 4, 7, 0.4, 0.4)
R(tt7_buf_rdac, met3, [(0.45,1.475,2.05,1.5), (17.45,1.475,20.55,1.5), (0.45,1.5,20.55,3), (0.45,3,2.05,4.525), (17.45,3,20.55,3.025)])
tt7_buf_rdac.add(gdstk.Reference(tt7_rdac_r2r, (31.02,-21)))
tt7_buf_rdac.add(gdstk.Reference(tt7_drv_dac, (0,0)))
tt7_buf_rdac.add(gdstk.Label('VSS', (1.75,80.25), layer=68, texttype=5))
tt7_buf_rdac.add(gdstk.Label('VDD', (11.75,80.25), layer=68, texttype=5))
tt7_buf_rdac.add(gdstk.Label('VOUT', (107.25,68.25), layer=69, texttype=5))
tt7_buf_rdac.add(gdstk.Label('GP[9]', (0.2,79.8), layer=69, texttype=5))
tt7_buf_rdac.add(gdstk.Label('GN[9]', (0.2,72.6), layer=69, texttype=5))
tt7_buf_rdac.add(gdstk.Label('GP[8]', (0.2,71.8), layer=69, texttype=5))
tt7_buf_rdac.add(gdstk.Label('GN[8]', (0.2,64.6), layer=69, texttype=5))
tt7_buf_rdac.add(gdstk.Label('GP[7]', (0.2,63.8), layer=69, texttype=5))
tt7_buf_rdac.add(gdstk.Label('GN[7]', (0.2,56.6), layer=69, texttype=5))
tt7_buf_rdac.add(gdstk.Label('GP[6]', (0.2,55.8), layer=69, texttype=5))
tt7_buf_rdac.add(gdstk.Label('GN[6]', (0.2,48.6), layer=69, texttype=5))
tt7_buf_rdac.add(gdstk.Label('GP[5]', (0.2,47.8), layer=69, texttype=5))
tt7_buf_rdac.add(gdstk.Label('GN[5]', (0.2,40.6), layer=69, texttype=5))
tt7_buf_rdac.add(gdstk.Label('GP[4]', (0.2,39.8), layer=69, texttype=5))
tt7_buf_rdac.add(gdstk.Label('GN[4]', (0.2,32.6), layer=69, texttype=5))
tt7_buf_rdac.add(gdstk.Label('GP[3]', (0.2,31.8), layer=69, texttype=5))
tt7_buf_rdac.add(gdstk.Label('GN[3]', (0.2,24.6), layer=69, texttype=5))
tt7_buf_rdac.add(gdstk.Label('GP[2]', (0.2,23.8), layer=69, texttype=5))
tt7_buf_rdac.add(gdstk.Label('GN[2]', (0.2,16.6), layer=69, texttype=5))
tt7_buf_rdac.add(gdstk.Label('GP[1]', (0.2,15.8), layer=69, texttype=5))
tt7_buf_rdac.add(gdstk.Label('GN[1]', (0.2,8.6), layer=69, texttype=5))
tt7_buf_rdac.add(gdstk.Label('GP[0]', (0.2,7.8), layer=69, texttype=5))
tt7_buf_rdac.add(gdstk.Label('GN[0]', (0.2,0.6), layer=69, texttype=5))

lib.write_gds('TT7_BUF_RDAC.gds')
